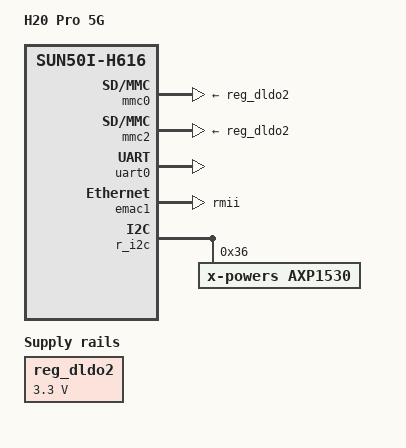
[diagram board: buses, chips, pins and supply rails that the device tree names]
// SPDX-License-Identifier: (GPL-2.0+ OR MIT)
/*
 * Copyright (C) 2024 Armbian
 */

/dts-v1/;

#include "sun50i-h616.dtsi"
#include <dt-bindings/gpio/gpio.h>
#include <dt-bindings/interrupt-controller/arm-gic.h>

/ {
	model = "H20 Pro 5G";
	compatible = "hechuang,h20-pro-5g\0allwinner,sun50i-h616";

	aliases {
		serial0 = &uart0;
		ethernet0 = &emac1;
	};

	chosen {
		stdout-path = "serial0:115200n8";
	};

	reg_dldo2: regulator-dldo2 {
		compatible = "regulator-fixed";
		regulator-name = "vcc3v3-ext";
		regulator-min-microvolt = <3300000>;
		regulator-max-microvolt = <3300000>;
		regulator-always-on;
	};
};

&mmc0 {
	vmmc-supply = <&reg_dldo2>;
	vqmmc-supply = <&reg_dldo2>;
	status = "okay";
};

&mmc2 {
	vmmc-supply = <&reg_dldo2>;
	vqmmc-supply = <&reg_dldo2>;
	status = "okay";
};

&uart0 {
	status = "okay";
};

&emac1 {
	phy-mode = "rmii";
	status = "okay";
};

&r_i2c {
	status = "okay";

	axp1530: pmic@36 {
		compatible = "x-powers,axp1530", "x-powers,axp152";
		reg = <0x36>;
		wakeup-source;
	};
};
